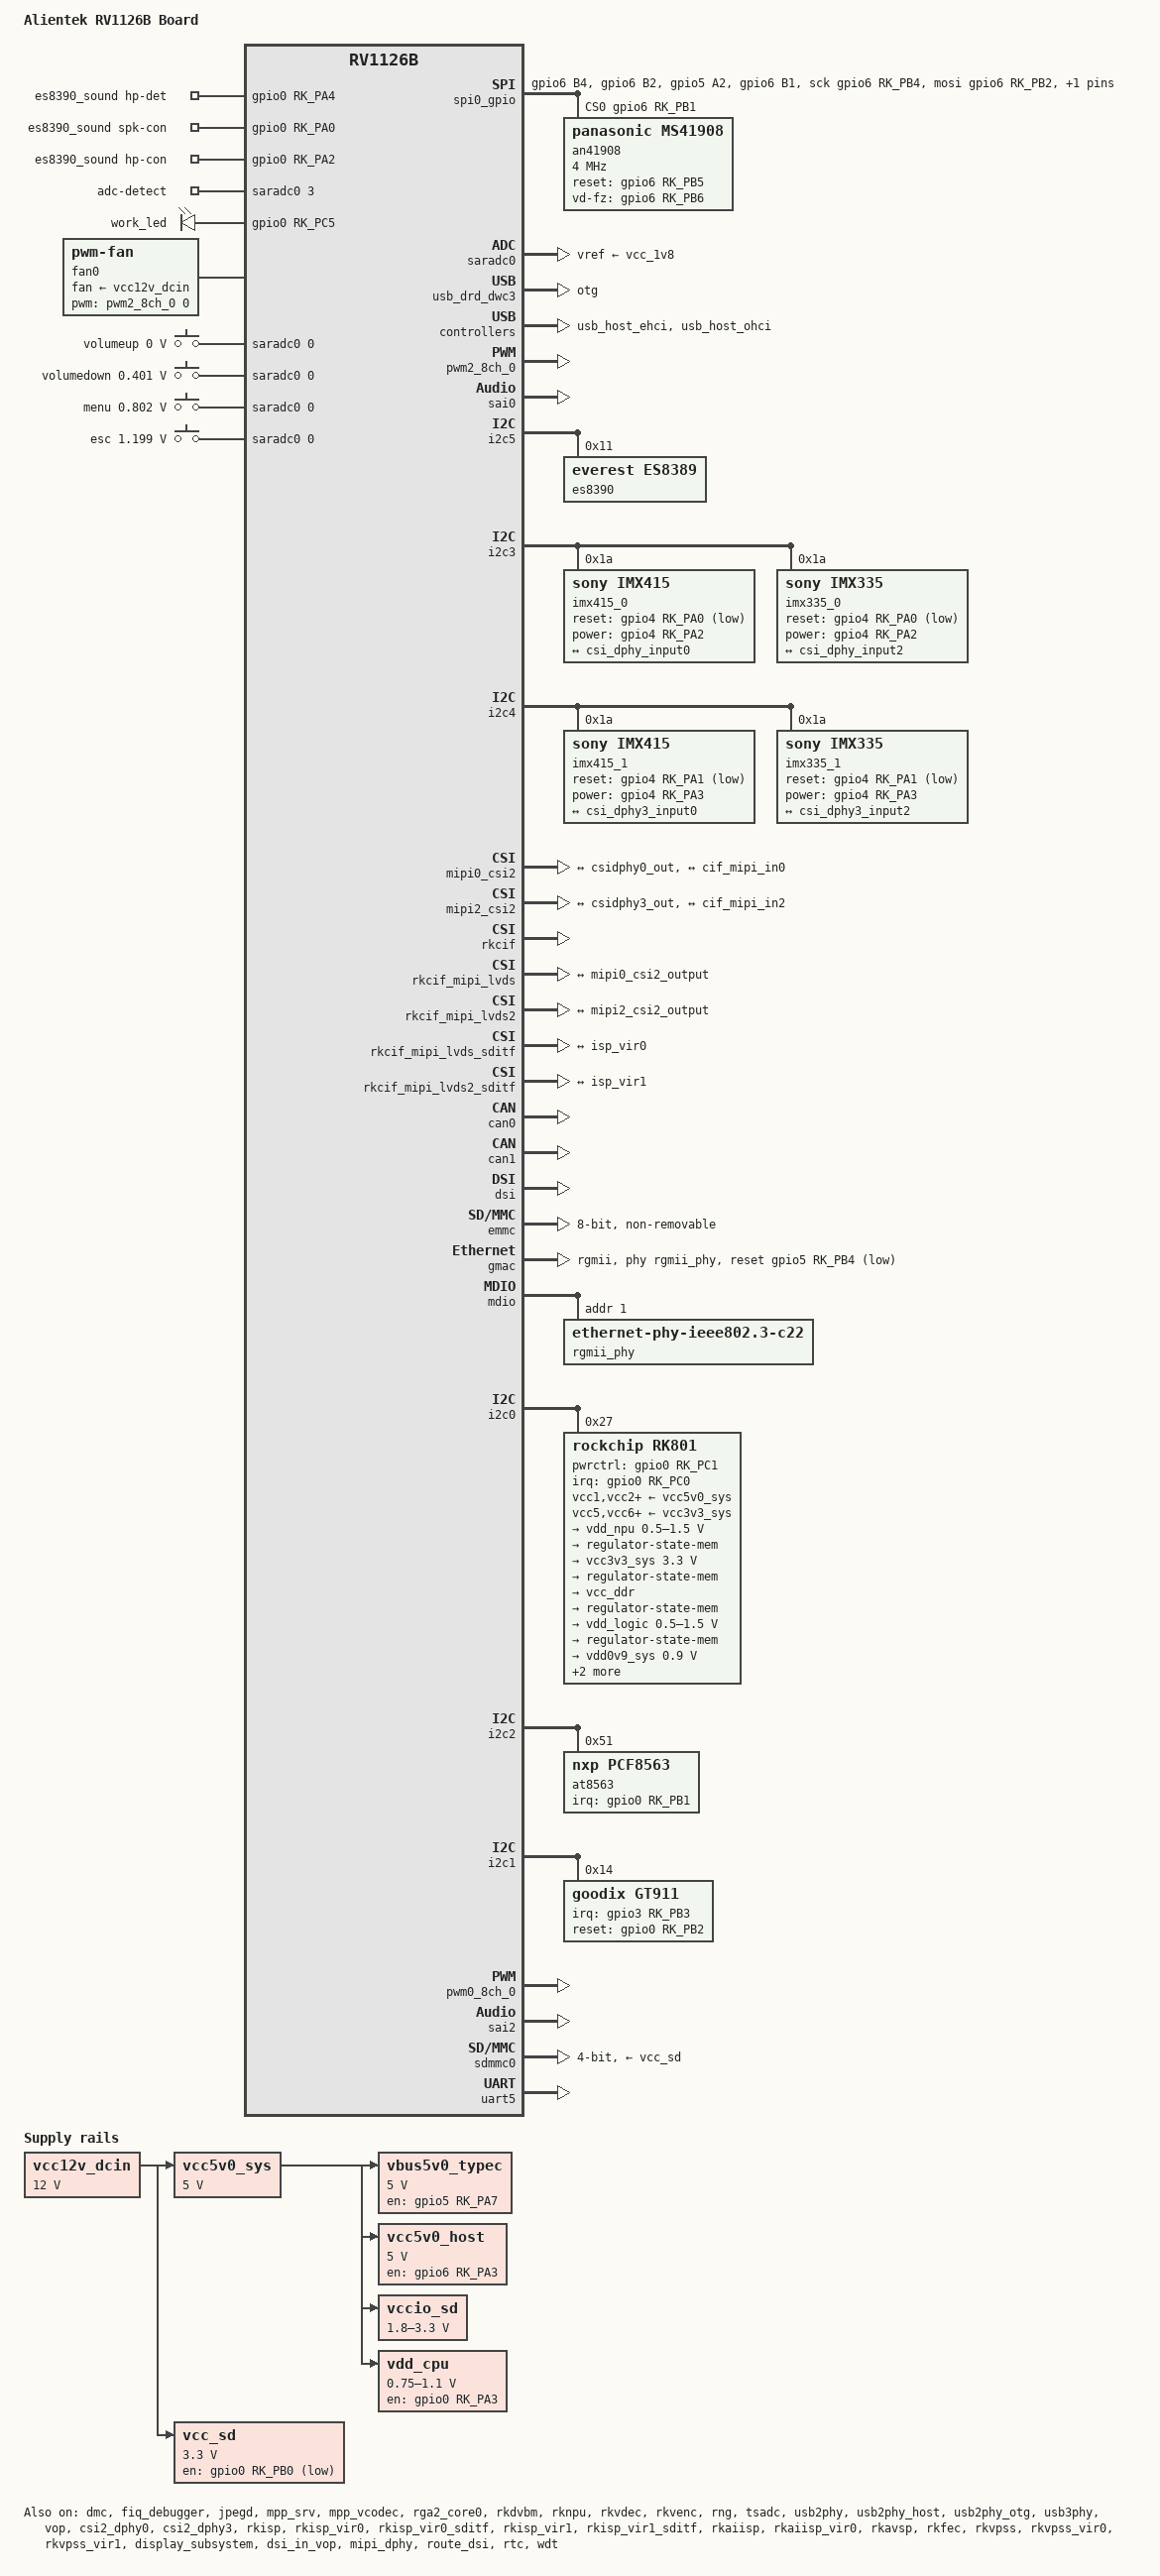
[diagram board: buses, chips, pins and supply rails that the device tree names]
// SPDX-License-Identifier: (GPL-2.0+ OR MIT)
/*
 * Copyright (c) 2025 Rockchip Electronics Co., Ltd.
 */
#include <dt-bindings/display/drm_mipi_dsi.h>
#include <dt-bindings/input/input.h>
#include "rv1126b.dtsi"

/ {
	model = "Alientek RV1126B Board";
	compatible = "rockchip,rv1126b-evb4-v10", "rockchip,rv1126b";

	chosen {
		bootargs = "earlycon=uart8250,mmio32,0x20810000 console=ttyFIQ0 rw root=PARTUUID=614e0000-0000 rootfstype=ext4 rootwait snd_soc_core.prealloc_buffer_size_kbytes=16 coherent_pool=32K";
	};

	spi0_gpio: spi-gpio@0 {
		compatible = "spi-gpio";
		#address-cells =<1>;
		#size-cells = <0>;

		status = "okay";
		pinctrl-names = "default";
		pinctrl-0 = <&an41908_pin_moni>;

		sck-gpios = <&gpio6 RK_PB4 GPIO_ACTIVE_HIGH>;
		mosi-gpios = <&gpio6 RK_PB2 GPIO_ACTIVE_HIGH>;
		miso-gpios = <&gpio5 RK_PA2 GPIO_ACTIVE_HIGH>;
		cs-gpios = <&gpio6 RK_PB1 GPIO_ACTIVE_HIGH>;

		num-chipselects = <1>;

			an41908@0 {
			status = "okay";
			compatible = "panasonic,ms41908";
			reg = <0>;                        
			spi-max-frequency = <4000000>;              
			reset-gpios = <&gpio6 RK_PB5 GPIO_ACTIVE_HIGH>;
			vd-fz-gpios = <&gpio6 RK_PB6 GPIO_ACTIVE_HIGH>;

			spi-cs-high;//添加这个才能让CS在空闲的时候是低电平
			pinctrl-names = "default";
			pinctrl-0 = <&an41908_pin>;  
		};
	};

	es8390_sound: es8390-sound {
		status = "okay";
		compatible = "rockchip,multicodecs-card";
		rockchip,card-name = "rockchip-es8390";
		hp-det-gpio = <&gpio0 RK_PA4 GPIO_ACTIVE_HIGH> /* HP_DET_L */;
		io-channels = <&saradc0 3>;
		io-channel-names = "adc-detect";
		keyup-threshold-microvolt = <1800000>;
		poll-interval = <100>;
		spk-con-gpio = <&gpio0 RK_PA0 GPIO_ACTIVE_HIGH> /* SPK_CTL_H */;
		hp-con-gpio = <&gpio0 RK_PA2 GPIO_ACTIVE_HIGH> /* PHONE_CTL */;
		rockchip,format = "i2s";
		rockchip,mclk-fs = <256>;
		rockchip,cpu = <&sai0>;
		rockchip,codec = <&es8390>;
		rockchip,audio-routing =
			"Headphone", "HPOL",
			"Headphone", "HPOR",
			"Speaker", "HPOL",
			"Speaker", "HPOR",
			"Main Mic", "INPUT2",
			"Headset Mic", "INPUT1";
		pinctrl-names = "default";
		pinctrl-0 = <&hp_det>;
		play-pause-key {
			label = "playpause";
			linux,code = <KEY_PLAYPAUSE>;
			press-threshold-microvolt = <2000>;
		};
	};



	rk_headset: rk-headset {
		status = "disabled";
		compatible = "rockchip_headset";
		headset_gpio = <&gpio0 RK_PA4 GPIO_ACTIVE_HIGH>;
		pinctrl-names = "default";
		pinctrl-0 = <&hp_det>;
		io-channels = <&saradc0 3>;
	};

	leds: leds {
		compatible = "gpio-leds";
		work_led: work {
			gpios = <&gpio0 RK_PC5 GPIO_ACTIVE_HIGH>;
			linux,default-trigger = "heartbeat";
			pinctrl-names = "default";
			pinctrl-0 = <&work_leds_gpio>;
			status = "okay";
		};
	};

        vcc12v_dcin: vcc12v-dcin {
                compatible = "regulator-fixed";
                regulator-name = "vcc12v_dcin";
                regulator-always-on;
                regulator-boot-on;
                regulator-min-microvolt = <12000000>;
                regulator-max-microvolt = <12000000>;
        };

	vcc5v0_sys: vcc5v0-sys {
		compatible = "regulator-fixed";
		regulator-name = "vcc5v0_sys";
		regulator-always-on;
		regulator-boot-on;
		regulator-min-microvolt = <5000000>;
		regulator-max-microvolt = <5000000>;
		vin-supply = <&vcc12v_dcin>;
		status = "okay";
	};

	vbus5v0_typec: vbus5v0-typec {
		compatible = "regulator-fixed";
		regulator-name = "vbus5v0_typec";
		regulator-min-microvolt = <5000000>;
		regulator-max-microvolt = <5000000>;
		enable-active-high;
		gpio = <&gpio5 RK_PA7 GPIO_ACTIVE_HIGH>;
		vin-supply = <&vcc5v0_sys>;
		pinctrl-names = "default";
		pinctrl-0 = <&typec5v_pwren>;
	};

	vcc5v0_host: vcc5v0-host {
		compatible = "regulator-fixed";
		regulator-name = "vcc5v0_host";
		regulator-boot-on;
		regulator-always-on;
		regulator-min-microvolt = <5000000>;
		regulator-max-microvolt = <5000000>;
		enable-active-high;
		gpio = <&gpio6 RK_PA3 GPIO_ACTIVE_HIGH>;
		vin-supply = <&vcc5v0_sys>;
		pinctrl-names = "default";
		pinctrl-0 = <&vcc5v0_host_en>;
	};

	vcc_sd: vcc-sd {
		compatible = "regulator-fixed";
		gpio = <&gpio0 RK_PB0 GPIO_ACTIVE_LOW>;
		regulator-name = "vcc_sd";
		regulator-min-microvolt = <3300000>;
		regulator-max-microvolt = <3300000>;
		enable-active-low;
		regulator-boot-on;	// The legacy U-Boot GPIO driver needs this to set correct SDMMC0_PWREN value
		vin-supply = <&vcc12v_dcin>;
	};

	vccio_sd: vccio-sd {
		compatible = "regulator-gpio";
		regulator-boot-on;
		regulator-name = "vccio_sd";
		regulator-min-microvolt = <1800000>;
		regulator-max-microvolt = <3300000>;
		pinctrl-names = "default";
		pinctrl-0 = <&sdmmc_volt>;
		gpios = <&gpio0 RK_PA6 GPIO_ACTIVE_HIGH>;
		vin-supply = <&vcc5v0_sys>;
		states = <1800000 0x0
			  3300000 0x1>;
	};

	vdd_cpu: vdd-cpu {
		compatible = "pwm-regulator";
		pwms = <&pwm0_8ch_0 0 25000 1>;
		regulator-name = "vdd_cpu";
		regulator-init-microvolt = <950000>;
		regulator-min-microvolt = <750000>;
		regulator-max-microvolt = <1100000>;
		regulator-always-on;
		regulator-boot-on;
		enable-gpios = <&gpio0 RK_PA3 GPIO_ACTIVE_HIGH>;
		pwm-supply = <&vcc5v0_sys>;
	};


	fan0: pwm-fan {
		compatible = "pwm-fan";
		cooling-min-state = <0>;
		cooling-max-state = <22>;
		#cooling-cells = <2>;
		pwms = <&pwm2_8ch_0 0 25000 0>;
		fan-supply = <&vcc12v_dcin>;
		cooling-levels = <
			0 50 100 120 150 170 180 200
			205 210 215 220 225 230 235 240
			245 250 251 252 253 254 255
		>;
	};


	acodec_sound: acodec-sound {
		status = "disabled";
		compatible = "rockchip,multicodecs-card";
		rockchip,card-name = "rockchip,rv1126b-acodec";
		rockchip,format = "i2s";
		rockchip,mclk-fs-mapping = <256 1024>;
		rockchip,cpu = <&sai2>;
		rockchip,codec = <&audio_codec>, <&acdcdig_dsm>;
	};

	adc-keys {
		compatible = "adc-keys";
		io-channels = <&saradc0 0>;
		io-channel-names = "buttons";
		poll-interval = <100>;
		keyup-threshold-microvolt = <1800000>;

		volumeup-key {
			label = "volumeup";
			linux,code = <KEY_VOLUMEUP>;
			press-threshold-microvolt = <0>;
		};

		volumedown-key {
			label = "volumedown";
			linux,code = <KEY_VOLUMEDOWN>;
			press-threshold-microvolt = <400781>;
		};

		menu-key {
			label = "menu";
			linux,code = <KEY_MENU>;
			press-threshold-microvolt = <801562>;
		};

		esc-key {
			label = "esc";
			linux,code = <KEY_ESC>;
			press-threshold-microvolt = <1198828>;
		};
	};



	pdm_codec: dummy-codec {
		status = "disabled";
		compatible = "rockchip,dummy-codec";
		#sound-dai-cells = <0>;
	};

	pdm_mic_array: pdm-mic-array {
		status = "disabled";
		compatible = "simple-audio-card";
		simple-audio-card,name = "rockchip,pdm-mic-array";
		simple-audio-card,cpu {
			sound-dai = <&pdm>;
		};
		simple-audio-card,codec {
			sound-dai = <&pdm_codec>;
		};
	};

};

&dmc {
	center-supply = <&vdd_logic>;
	status = "okay";
};

&fiq_debugger {
	status = "okay";
};

&jpegd {
	status = "okay";
};

&jpeg_mmu {
	status = "okay";
};

&mpp_srv {
	status = "okay";
};

&mpp_vcodec {
	status = "okay";
};

&rga2_core0 {
	status = "okay";
};

&rga2_core0_mmu {
	status = "okay";
};

&rkdvbm {
	status = "okay";
};

&rknpu {
	status = "okay";
};

&rknpu_mmu {
	status = "okay";
};

&rkvdec {
	status = "okay";
};

&rkvdec_mmu {
	status = "okay";
};

&rkvenc {
	status = "okay";
};

&rkvenc_mmu {
	status = "okay";
};

&rng {
	status = "okay";
};

&saradc0 {
	status = "okay";
};

&tsadc {
	status = "okay";
};

&usb2phy {
	status = "okay";
};

&usb2phy_host {
	status = "okay";
};

&usb2phy_otg {
	status = "okay";
};

&usb3phy {
	status = "okay";
};

&usb_drd_dwc3 {
	status = "okay";
};

&usb_host_ehci {
	status = "okay";
};

&usb_host_ohci {
	status = "okay";
};

&vop {
	status = "okay";
};

&vop_mmu {
	status = "okay";
};


&pwm2_8ch_0 {
	status = "okay";
};
/********************** ES8388 ***********************/
&sai0 {
	status = "okay";
	pinctrl-names = "default";
	/delete-property/ pinctrl-0;
	pinctrl-0 = <&sai0m0_lrck_pins
		     &sai0m0_sclk_pins
		     &sai0m0_sdi0_pins
		     &sai0m0_sdo0_pins>;
};

&sai0_mclkout {
	status = "okay";	
};
// &sai0_fs {
// 	status = "okay";
// };



&i2c5 {
	status = "okay";
	pinctrl-names = "default";
	pinctrl-0 = <&i2c5m1_pins>;
	es8390: es8390@11 {
		status = "okay";
		#sound-dai-cells = <0>;
		compatible = "everest,es8389", "everest,es8390";
		reg = <0x11>;
		clocks = <&sai0_mclkout>;
		clock-names = "mclk";
		assigned-clocks = <&sai0_mclkout>;
		assigned-clock-rates = <12288000>;
		pinctrl-names = "default";
		pinctrl-0 = <&sai0m0_mclk_pins>;
	};

};
/***********************************************************/
/************************ 内置音频 *************************/
&acdcdig_dsm {
	status = "disabled";
	pa-ctl-gpios = <&gpio0 RK_PA4 GPIO_ACTIVE_HIGH>;
	pinctrl-0 = <&dsm_aud_rn_pins &dsm_aud_rp_pins>;
};

&acodec_sound {
	status = "disabled";
};

&audio_codec {
	status = "disabled";
};
/***********************************************************/

/*************************** MIPI CSI **********************************/
&csi2_dphy0 {
	status = "okay";

	ports {
		#address-cells = <1>;
		#size-cells = <0>;
		port@0 {
			reg = <0>;
			#address-cells = <1>;
			#size-cells = <0>;

			csi_dphy_input0: endpoint@1 {
				reg = <1>;
				remote-endpoint = <&imx415_out0>;
				data-lanes = <1 2 3 4>;
			};

			csi_dphy_input2: endpoint@2 {
				reg = <2>;
				remote-endpoint = <&imx335_out0>;
				data-lanes = <1 2 3 4>;
			};
		};
		port@1 {
			reg = <1>;
			#address-cells = <1>;
			#size-cells = <0>;

			csidphy0_out: endpoint@0 {
				reg = <0>;
				remote-endpoint = <&mipi0_csi2_input>;
			};
		};
	};
};

&csi2_dphy3 {
	status = "okay";

	ports {
		#address-cells = <1>;
		#size-cells = <0>;
		port@0 {
			reg = <0>;
			#address-cells = <1>;
			#size-cells = <0>;

			csi_dphy3_input0: endpoint@1 {
				reg = <1>;
				remote-endpoint = <&imx415_out1>;
				data-lanes = <1 2 3 4>;
			};

			csi_dphy3_input2: endpoint@2 {
				reg = <2>;
				remote-endpoint = <&imx335_out1>;
				data-lanes = <1 2 3 4>;
			};
		};
		port@1 {
			reg = <1>;
			#address-cells = <1>;
			#size-cells = <0>;

			csidphy3_out: endpoint@0 {
				reg = <0>;
				remote-endpoint = <&mipi2_csi2_input>;
			};
		};
	};
};

&i2c3 {
	status = "okay";
	pinctrl-0 = <&i2c3m1_pins>;

	imx415_0: imx415_0@1a {
		status = "okay";
		compatible = "sony,imx415";
		reg = <0x1a>;
		clocks = <&cru CLK_MIPI0_OUT2IO>;
		clock-names = "xvclk";
		reset-gpios = <&gpio4 RK_PA0 GPIO_ACTIVE_LOW>;
		power-gpios = <&gpio4 RK_PA2 GPIO_ACTIVE_HIGH>;
		pinctrl-names = "default";
		pinctrl-0 = <&cam_clk0_pins>;
		rockchip,camera-module-index = <0>;
		rockchip,camera-module-facing = "back";
		rockchip,camera-module-name = "default";
		rockchip,camera-module-lens-name = "default";
		port {
			imx415_out0: endpoint {
				remote-endpoint = <&csi_dphy_input0>;
				data-lanes = <1 2 3 4>;
			};
		};
	};

	imx335_0: imx335@1a {
		status = "okay";
		compatible = "sony,imx335";
		reg = <0x1a>;
		clocks = <&cru CLK_MIPI0_OUT2IO>;
		clock-names = "xvclk";
		reset-gpios = <&gpio4 RK_PA0 GPIO_ACTIVE_LOW>;
		power-gpios = <&gpio4 RK_PA2 GPIO_ACTIVE_HIGH>;
		pinctrl-names = "default";
		pinctrl-0 = <&cam_clk0_pins>;
		rockchip,camera-module-index = <0>;
		rockchip,camera-module-facing = "back";
		rockchip,camera-module-name = "default";
		rockchip,camera-module-lens-name = "default";
		port {
			imx335_out0: endpoint {
				remote-endpoint = <&csi_dphy_input2>;
				data-lanes = <1 2 3 4>;
			};
		};
	};

};


&i2c4 {
	status = "okay";
	pinctrl-0 = <&i2c4m2_pins>;

	imx415_1: imx415_1@1a {
		compatible = "sony,imx415";
		reg = <0x1a>;
		clocks = <&cru CLK_MIPI1_OUT2IO>;
		clock-names = "xvclk";
		reset-gpios = <&gpio4 RK_PA1 GPIO_ACTIVE_LOW>;
		power-gpios = <&gpio4 RK_PA3 GPIO_ACTIVE_HIGH>;
		pinctrl-names = "default";
		pinctrl-0 = <&cam_clk1_pins>;
		rockchip,camera-module-index = <1>;
		rockchip,camera-module-facing = "back";
		rockchip,camera-module-name = "default";
		rockchip,camera-module-lens-name = "default";
		port {
			imx415_out1: endpoint {
				remote-endpoint = <&csi_dphy3_input0>;
				data-lanes = <1 2 3 4>;
			};
		};
	};

	imx335_1: imx335@1a {
		status = "okay";
		compatible = "sony,imx335";
		reg = <0x1a>;
		clocks = <&cru CLK_MIPI1_OUT2IO>;
		clock-names = "xvclk";
		reset-gpios = <&gpio4 RK_PA1 GPIO_ACTIVE_LOW>;
		power-gpios = <&gpio4 RK_PA3 GPIO_ACTIVE_HIGH>;
		pinctrl-names = "default";
		pinctrl-0 = <&cam_clk1_pins>;
		rockchip,camera-module-index = <1>;
		rockchip,camera-module-facing = "back";
		rockchip,camera-module-name = "default";
		rockchip,camera-module-lens-name = "default";
		port {
			imx335_out1: endpoint {
				remote-endpoint = <&csi_dphy3_input2>;
				data-lanes = <1 2 3 4>;
			};
		};
	};

};

&mipi0_csi2 {
	status = "okay";

	ports {
		#address-cells = <1>;
		#size-cells = <0>;

		port@0 {
			reg = <0>;
			#address-cells = <1>;
			#size-cells = <0>;

			mipi0_csi2_input: endpoint@1 {
				reg = <1>;
				remote-endpoint = <&csidphy0_out>;
			};
		};

		port@1 {
			reg = <1>;
			#address-cells = <1>;
			#size-cells = <0>;

			mipi0_csi2_output: endpoint@0 {
				reg = <0>;
				remote-endpoint = <&cif_mipi_in0>;
			};
		};
	};
};

&mipi2_csi2 {
	status = "okay";

	ports {
		#address-cells = <1>;
		#size-cells = <0>;

		port@0 {
			reg = <0>;
			#address-cells = <1>;
			#size-cells = <0>;

			mipi2_csi2_input: endpoint@1 {
				reg = <1>;
				remote-endpoint = <&csidphy3_out>;
			};
		};

		port@1 {
			reg = <1>;
			#address-cells = <1>;
			#size-cells = <0>;

			mipi2_csi2_output: endpoint@0 {
				reg = <0>;
				remote-endpoint = <&cif_mipi_in2>;
			};
		};
	};
};

&rkcif {
	status = "okay";
};

&rkcif_mipi_lvds {
	status = "okay";

	port {
		cif_mipi_in0: endpoint {
			remote-endpoint = <&mipi0_csi2_output>;
		};
	};
};

&rkcif_mipi_lvds2 {
	status = "okay";

	port {
		cif_mipi_in2: endpoint {
			remote-endpoint = <&mipi2_csi2_output>;
		};
	};
};

&rkcif_mipi_lvds_sditf {
	status = "okay";

	port {
		mipi_lvds_sditf: endpoint {
			remote-endpoint = <&isp_vir0>;
		};
	};
};

&rkcif_mipi_lvds2_sditf {
	status = "okay";

	port {
		mipi_lvds2_sditf: endpoint {
			remote-endpoint = <&isp_vir1>;
		};
	};
};

&rkcif_mmu {
	status = "okay";
};

&rkisp {
	status = "okay";
};

&rkisp_mmu {
	status = "okay";
};

&rkisp_vir0 {
	status = "okay";

	port {
		#address-cells = <1>;
		#size-cells = <0>;

		isp_vir0: endpoint@0 {
			reg = <0>;
			remote-endpoint = <&mipi_lvds_sditf>;
		};
	};
};

&rkisp_vir0_sditf {
	status = "okay";
};

&rkisp_vir1 {
	status = "okay";

	port {
		#address-cells = <1>;
		#size-cells = <0>;

		isp_vir1: endpoint@0 {
			reg = <0>;
			remote-endpoint = <&mipi_lvds2_sditf>;
		};
	};
};

&rkisp_vir1_sditf {
	status = "okay";
};


&rkaiisp {
	status = "okay";
};

&rkaiisp_mmu {
	status = "okay";
};

&rkaiisp_vir0 {
	status = "okay";
};

&rkavsp {
	status = "okay";
};

&rkavsp_mmu {
	status = "okay";
};

&rkfec {
	status = "okay";
};

&rkfec_mmu {
	status = "okay";
};

&rkvpss {
	status = "okay";
	dvbm = <&rkdvbm>;
};

&rkvpss_mmu {
	status = "okay";
};

&rkvpss_vir0 {
	status = "okay";
};

&rkvpss_vir1 {
	status = "okay";
};
/***********************************************************************/

&can0 {
	assigned-clocks = <&cru CLK_CAN0>;
	assigned-clock-rates = <200000000>;
	pinctrl-names = "default";
	pinctrl-0 = <&can0m0_pins>;
	status = "okay";
};

&can1 {
	assigned-clocks = <&cru CLK_CAN1>;
	assigned-clock-rates = <200000000>;
	pinctrl-names = "default";
	pinctrl-0 = <&can1m0_pins>;
	status = "okay";
};

&cpu0 {
	cpu-supply = <&vdd_cpu>;
};

&display_subsystem {
	status = "okay";
};

&dsi {
	status = "okay";
};

&dsi_in_vop {
	status = "okay";
};


&dsmc {
	clock-frequency = <100000000>;
	status = "disabled";
	slave {
		rockchip,dqs-dll = <0x20 0x20
				    0x20 0x20
				    0x20 0x20
				    0x20 0x20>;
		rockchip,ranges = <0x0 0x10000000 0x0 0x2000000>;
	};
};

&dsmc_slave {
	status = "disabled";
	lb-slave {
		dsmc_lb_slave0: lb-slave0 {
			rockchip,int-en = <0x0>;
			status = "okay";
			dsmc_p0_region: region {
				dsmc_p0_region0: region0 {
					status = "okay";
				};
				dsmc_p0_region3: region3 {
					status = "okay";
				};
			};
		};
	};
};

&emmc {
	bus-width = <8>;
	cap-mmc-highspeed;
	non-removable;
	mmc-hs200-1_8v;
	rockchip,default-sample-phase = <90>;
	no-sdio;
	no-sd;
	status = "okay";
};

&fspi0 {
	status = "disabled";

	flash@0 {
		compatible = "spi-nand";
		reg = <0>;
		spi-max-frequency = <75000000>;
		spi-rx-bus-width = <4>;
		spi-tx-bus-width = <1>;
	};
};
/******************** rmii ***********************/
// &gmac {
// 	phy-mode = "rmii";
// 	clock_in_out = "input";
// 	phy-handle = <&rmii_phy>;
// 	status = "okay";
// };


// &mdio {
// 	rmii_phy: ethernet-phy@2 {
// 		compatible = "ethernet-phy-id0680.8101", "ethernet-phy-ieee802.3-c22";
// 		reg = <2>;
// 		clocks = <&cru CLK_MACPHY>;
// 		clock-frequency = <50000000>;
// 		resets = <&cru SRST_RESETN_MACPHY>;
// 		pinctrl-names = "default";
// 		pinctrl-0 = <&fephym0_pins>;
// 		phy-is-integrated;
// 	};
// };
/************************************************/


/********************* rgmii ***********************/
&gmac {
    phy-mode = "rgmii";
    clock_in_out = "output";

    snps,reset-gpio = <&gpio5 RK_PB4 GPIO_ACTIVE_LOW>;
    snps,reset-active-low;
    /* Reset time is 20ms, 100ms for rtl8211f */
    snps,reset-delays-us = <0 20000 100000>;

    pinctrl-names = "default";

    pinctrl-0 = <&ethm1_miim_pins
                 &ethm1_tx_bus2_pins
                 &ethm1_rx_bus2_pins
                 &ethm1_rgmii_clk_pins
                 &ethm1_rgmii_bus_pins>;

    tx_delay = <0x27>;
    rx_delay = <0x16>;

    phy-handle = <&rgmii_phy>;
    status = "okay";
};

&mdio {
	rgmii_phy: phy@1 {
            compatible = "ethernet-phy-ieee802.3-c22";
            reg = <0x1>;
	};
};
/************************************************/

&i2c0 {
	status = "okay";

	rk801: rk801@27 {
		compatible = "rockchip,rk801";
		status = "okay";
		reg = <0x27>;
		interrupt-parent = <&gpio0>;
		interrupts = <RK_PC0 IRQ_TYPE_LEVEL_LOW>;
		pwrctrl-gpios = <&gpio0 RK_PC1 GPIO_ACTIVE_HIGH>;

		pinctrl-names = "default", "pmic-reset";
		pinctrl-0 = <&pmic_int>;
		pinctrl-1 = <&soc_pwrctrl_reset>;
		rockchip,system-power-controller;
		wakeup-source;

		vcc1-supply = <&vcc5v0_sys>;
		vcc2-supply = <&vcc5v0_sys>;
		vcc3-supply = <&vcc5v0_sys>;
		vcc4-supply = <&vcc5v0_sys>;
		vcc5-supply = <&vcc3v3_sys>;
		vcc6-supply = <&vcc3v3_sys>;
		vcc7-supply = <&vcc3v3_sys>;

		regulators {
			vdd_npu: DCDC_REG1 {
				regulator-name = "vdd_npu";
				regulator-min-microvolt = <500000>;
				regulator-max-microvolt = <1500000>;
				regulator-initial-mode = <0x1>;
				regulator-boot-on;
				regulator-always-on;
				regulator-state-mem {
					regulator-mode = <0x2>;
					regulator-off-in-suspend;
					regulator-suspend-microvolt = <950000>;
				};
			};

			vcc3v3_sys: DCDC_REG2 {
				regulator-name = "vcc3v3_sys";
				regulator-min-microvolt = <3300000>;
				regulator-max-microvolt = <3300000>;
				regulator-initial-mode = <0x1>;
				regulator-boot-on;
				regulator-always-on;
				regulator-state-mem {
					regulator-mode = <0x2>;
					regulator-on-in-suspend;
					regulator-suspend-microvolt = <3300000>;
				};
			};

			vcc_ddr: DCDC_REG3 {
				regulator-name = "vcc_ddr";
				regulator-boot-on;
				regulator-always-on;
				regulator-state-mem {
					regulator-mode = <0x2>;
					regulator-on-in-suspend;
				};
			};

			vdd_logic: DCDC_REG4 {
				regulator-name = "vdd_logic";
				regulator-min-microvolt = <500000>;
				regulator-max-microvolt = <1500000>;
				regulator-initial-mode = <0x1>;
				regulator-boot-on;
				regulator-always-on;
				regulator-state-mem {
					regulator-mode = <0x2>;
					regulator-off-in-suspend;
					regulator-suspend-microvolt = <900000>;
				};
			};

			vdd0v9_sys: LDO_REG1 {
				regulator-name = "vdd0v9_sys";
				regulator-min-microvolt = <900000>;
				regulator-max-microvolt = <900000>;
				regulator-boot-on;
				regulator-always-on;
				regulator-state-mem {
					regulator-on-in-suspend;
					regulator-suspend-microvolt = <900000>;
				};
			};

			vcc_1v8: LDO_REG2 {
				regulator-name = "vcc_1v8";
				regulator-min-microvolt = <1800000>;
				regulator-max-microvolt = <1800000>;
				regulator-boot-on;
				regulator-always-on;
				regulator-state-mem {
					regulator-off-in-suspend;
					regulator-suspend-microvolt = <1800000>;
				};
			};

			vcc_3v3: SWITCH_REG {
				regulator-name = "vcc_3v3";
				regulator-boot-on;
				regulator-always-on;
				regulator-state-mem {
					regulator-off-in-suspend;
					regulator-suspend-microvolt = <3300000>;
				};
			};
		};
	};
};

&i2c2 {
	status = "okay";
	pinctrl-names = "default";
	pinctrl-0 = <&i2c2m0_pins>;

	at8563: rtc@51 {
		compatible = "nxp,pcf8563";
		reg = <0x51>;
		pinctrl-names = "default";
		pinctrl-0 = <&at8563_int>;
		interrupt-parent = <&gpio0>;
		interrupts = <RK_PB1 IRQ_TYPE_LEVEL_LOW>;
		#clock-cells = <0>;
	};

};

&i2c1 {
	status = "okay";
	pinctrl-names = "default";
	pinctrl-0 = <&i2c1m1_pins>;

	goodix: goodix_tp@14 {
		compatible = "goodix,gt911";
		reg = <0x14>;
		pinctrl-names = "default";
		pinctrl-0 = <&touch0_gpio>;
		interrupt-parent = <&gpio3>;
		interrupts = <RK_PB3 IRQ_TYPE_LEVEL_LOW>;
		irq-gpios = <&gpio3 RK_PB3 IRQ_TYPE_LEVEL_LOW>;
		reset-gpios = <&gpio0 RK_PB2 GPIO_ACTIVE_HIGH>;
		//touchscreen-inverted-x;
		//touchscreen-swapped-x-y;
		status = "okay";
	};
};





&mipi_dphy {
	status = "okay";
};



&pinctrl {
	an41908{
		an41908_pin:an41908_pin{
			rockchip,pins = <6 RK_PB5 RK_FUNC_GPIO &pcfg_pull_none>,
							<6 RK_PB6 RK_FUNC_GPIO &pcfg_pull_none>,
							<1 RK_PB4 RK_FUNC_GPIO &pcfg_pull_none>;
		};

		an41908_pin_moni:an41908_pin_moni{
			rockchip,pins = <6 RK_PB4 RK_FUNC_GPIO &pcfg_pull_none>,
							<6 RK_PB2 RK_FUNC_GPIO &pcfg_pull_none>,
							<5 RK_PA2 RK_FUNC_GPIO &pcfg_pull_none>,
							<6 RK_PB1 RK_FUNC_GPIO &pcfg_pull_none>;
		};
	};

	leds {
		work_leds_gpio: work-leds-gpio {
			rockchip,pins = <0 RK_PC5 RK_FUNC_GPIO &pcfg_pull_none>;
		};
	};
	at8563 {
		at8563_int: at8563-int {
			rockchip,pins = <0 RK_PB1 RK_FUNC_GPIO &pcfg_pull_up>;
		};
	};

	lcd {
		lcd0_rst_gpio: lcd0-rst-gpio {
			rockchip,pins = <7 RK_PA7 RK_FUNC_GPIO &pcfg_pull_none>;
		};
	};

	touch {
		touch0_gpio: touch0-gpio {
			rockchip,pins =
				<0 RK_PB2 RK_FUNC_GPIO &pcfg_pull_down>,
				<3 RK_PB3 RK_FUNC_GPIO &pcfg_pull_up>;
		};
	};

	headphone {
		hp_det: hp-det {
			rockchip,pins =
				<0 RK_PA4 RK_FUNC_GPIO &pcfg_pull_none>/* HP_DET_L */,
				<0 RK_PA0 RK_FUNC_GPIO &pcfg_pull_down>/* SPK_CTL_H */,
				<0 RK_PA2 RK_FUNC_GPIO &pcfg_pull_down>/* PHONE_CTL */;
		};
	};


	pmic {
		pmic_int: pmic-int {
			rockchip,pins = <0 RK_PC0 RK_FUNC_GPIO &pcfg_pull_up>;
		};

		soc_pwrctrl_reset: soc-pwrctrl-reset {
			rockchip,pins = <0 RK_PC1 RK_FUNC_GPIO &pcfg_output_high>;
		};
	};

	sdio-pwrseq {
		wifi_enable_h: wifi-enable-h {
			rockchip,pins = <0 RK_PB2 RK_FUNC_GPIO &pcfg_pull_none>;
		};
	};

	sdmmc {
		/omit-if-no-ref/
		sdmmc_volt: sdmmc-volt {
			rockchip,pins = <0 RK_PA6 RK_FUNC_GPIO &pcfg_pull_none>;
		};
	};

	usb {
		typec5v_pwren: typec5v-pwren {
			rockchip,pins = <5 RK_PA7 RK_FUNC_GPIO &pcfg_pull_none>;
		};

		vcc5v0_host_en: vcc5v0-host-en {
			rockchip,pins = <6 RK_PA3 RK_FUNC_GPIO &pcfg_pull_none>;
		};
	};

	// wireless-bluetooth {
	// 	uart2_gpios: uart2-gpios {
	// 		rockchip,pins = <3 RK_PA6 RK_FUNC_GPIO &pcfg_pull_none>;
	// 	};
	// };

	// wireless-wlan {
	// 	wifi_wake_host: wifi-wake-host {
	// 		rockchip,pins = <0 RK_PB1 RK_FUNC_GPIO &pcfg_pull_up>;
	// 	};
	// };
};

&pwm0_8ch_0 {
	status = "okay";
};


&rknpu {
	rknpu-supply = <&vdd_npu>;
};

&rockchip_suspend {
	status = "okay";

	rockchip,sleep-debug-en = <1>;

	rockchip,sleep-mode-config = <
		(0
		| RKPM_SLP_ARMOFF_LOGOFF
		| RKPM_SLP_PMU_PMUALIVE_32K
		| RKPM_SLP_PMU_DIS_OSC
		| RKPM_SLP_32K_EXT
		)
	>;

	rockchip,sleep-pin-config = <
		(0
		| RKPM_SLEEP_PIN2_EN
		| RKPM_GPIO0_WKUP_EN
		)
		(0
		)
	>;
};

&route_dsi {
	status = "okay";
};

&rtc {
	rockchip,rtc-suspend-bypass;
	status = "okay";
};

&sai2 {
	rockchip,sai-rx-route = <1 0 2 3>;
	status = "okay";
	/delete-property/ pinctrl-names;
	/delete-property/ pinctrl-0;
};

&saradc0 {
	vref-supply = <&vcc_1v8>;
};

&sdmmc0 {
	max-frequency = <200000000>;
	no-sdio;
	no-mmc;
	bus-width = <4>;
	cap-mmc-highspeed;
	cap-sd-highspeed;
	disable-wp;
	sd-uhs-sdr104;
	vmmc-supply = <&vcc_sd>;
	vqmmc-supply = <&vccio_sd>;
	status = "okay";
};


// &uart4 {
// 	status = "okay";
// 	pinctrl-names = "default";
// 	pinctrl-0 = <&uart4m1_xfer_pins>;
// };

&uart5 {
	status = "okay";
	pinctrl-names = "default";
	pinctrl-0 = <&uart5m1_xfer_pins>;
};

&usb2phy_host {
	phy-supply = <&vcc5v0_host>;
};

&usb2phy_otg {
	vbus-supply = <&vbus5v0_typec>;
};

&usb_drd_dwc3 {
	dr_mode = "otg";
	extcon = <&usb2phy>;
};


&wdt {
	status = "okay";
};



// &spi1{
//     status = "okay";
//     pinctrl-names = "default";
//     pinctrl-0 = <&spi1m0_csn0_pins &spi1m0_clk_pins>;
//     cs-gpios = <&gpio1 RK_PB4 GPIO_ACTIVE_LOW>;

//     an41908@0 {
//         status = "okay";
//         compatible = "panasonic,ms41908";
//         reg = <0>;                        
//         spi-max-frequency = <4000000>;              
//         reset-gpios = <&gpio6 RK_PB5 GPIO_ACTIVE_HIGH>;
//         vd-fz-gpios = <&gpio6 RK_PB6 GPIO_ACTIVE_HIGH>;
      
//         pinctrl-names = "default";
//         pinctrl-0 = <&an41908_pin>;  
//     };
// };

